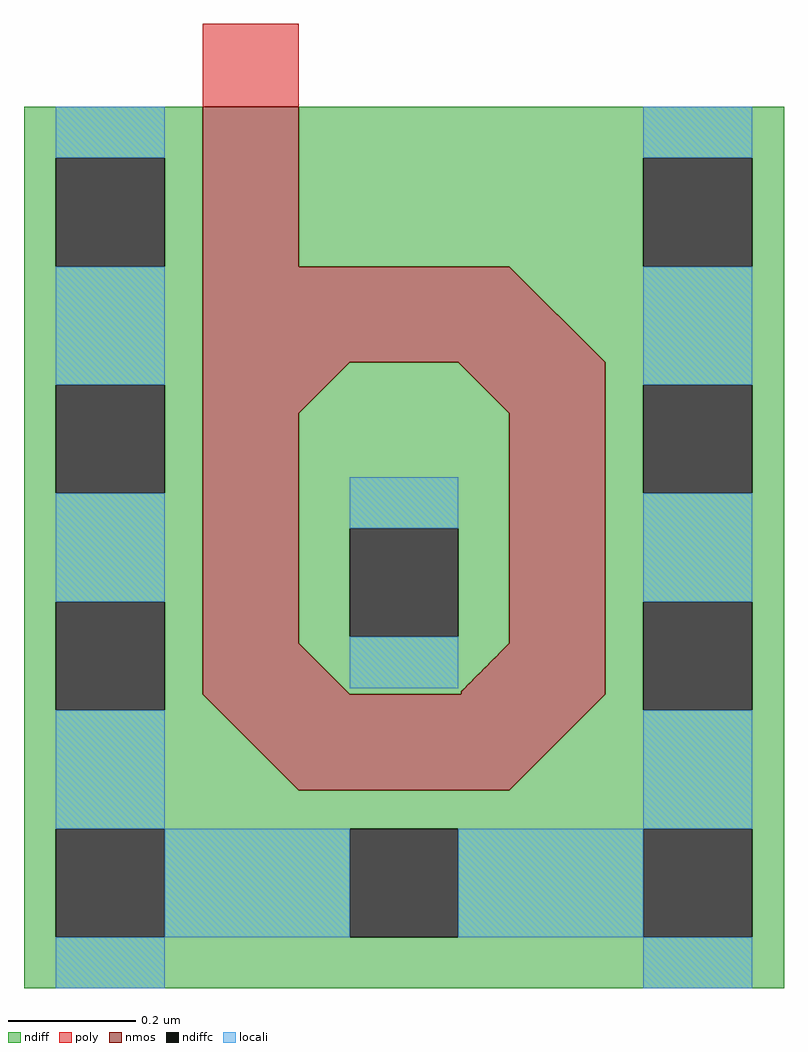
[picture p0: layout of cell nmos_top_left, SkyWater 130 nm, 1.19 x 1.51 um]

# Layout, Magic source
magic
tech sky130A
magscale 1 2
<< nmos >>
rect 11 162 41 212
rect 11 132 107 162
tri 107 132 137 162 sw
rect 11 28 41 132
tri 41 116 57 132 nw
tri 91 119 104 132 ne
rect 104 119 137 132
tri 104 116 107 119 ne
tri 41 28 57 44 sw
tri 104 41 107 44 se
rect 107 41 137 119
tri 103 40 104 41 se
rect 104 40 137 41
tri 102 39 103 40 se
rect 103 39 137 40
tri 101 38 102 39 se
rect 102 38 137 39
tri 100 37 101 38 se
rect 101 37 137 38
tri 99 36 100 37 se
rect 100 36 137 37
tri 98 35 99 36 se
rect 99 35 137 36
tri 97 34 98 35 se
rect 98 34 137 35
tri 96 33 97 34 se
rect 97 33 137 34
tri 95 32 96 33 se
rect 96 32 137 33
tri 94 31 95 32 se
rect 95 31 137 32
tri 93 30 94 31 se
rect 94 30 137 31
tri 92 29 93 30 se
rect 93 29 137 30
rect 92 28 137 29
tri 11 -2 41 28 ne
rect 41 -2 107 28
tri 107 -2 137 28 nw
<< ndiff >>
rect -45 196 11 212
rect -45 162 -35 196
rect -1 162 11 196
rect 41 196 193 212
rect 41 162 149 196
rect 183 162 193 196
rect -45 125 11 162
tri 107 132 137 162 ne
rect -45 91 -35 125
rect -1 91 11 125
rect -45 57 11 91
rect -45 23 -35 57
rect -1 23 11 57
tri 41 116 57 132 se
rect 57 119 91 132
tri 91 119 104 132 sw
rect 137 125 193 162
rect 57 116 104 119
tri 104 116 107 119 sw
rect 41 80 107 116
rect 41 46 57 80
rect 91 46 107 80
rect 41 44 107 46
tri 41 28 57 44 ne
rect 57 41 104 44
tri 104 41 107 44 nw
rect 137 91 149 125
rect 183 91 193 125
rect 137 57 193 91
rect 57 40 103 41
tri 103 40 104 41 nw
rect 57 39 102 40
tri 102 39 103 40 nw
rect 57 38 101 39
tri 101 38 102 39 nw
rect 57 37 100 38
tri 100 37 101 38 nw
rect 57 36 99 37
tri 99 36 100 37 nw
rect 57 35 98 36
tri 98 35 99 36 nw
rect 57 34 97 35
tri 97 34 98 35 nw
rect 57 33 96 34
tri 96 33 97 34 nw
rect 57 32 95 33
tri 95 32 96 33 nw
rect 57 31 94 32
tri 94 31 95 32 nw
rect 57 30 93 31
tri 93 30 94 31 nw
rect 57 28 92 30
tri 92 29 93 30 nw
rect -45 -2 11 23
tri 11 -2 41 28 sw
tri 107 -2 137 28 se
rect 137 23 149 57
rect 183 23 193 57
rect 137 -2 193 23
rect -45 -14 193 -2
rect -45 -48 -35 -14
rect -1 -48 57 -14
rect 91 -48 149 -14
rect 183 -48 193 -14
rect -45 -64 193 -48
<< ndiffc >>
rect -35 162 -1 196
rect 149 162 183 196
rect -35 91 -1 125
rect -35 23 -1 57
rect 57 46 91 80
rect 149 91 183 125
rect 149 23 183 57
rect -35 -48 -1 -14
rect 57 -48 91 -14
rect 149 -48 183 -14
<< poly >>
rect 11 212 41 238
<< locali >>
rect -35 196 -1 212
rect -35 125 -1 162
rect 149 196 183 212
rect 149 125 183 162
rect -35 57 -1 91
rect 57 80 91 96
rect 57 30 91 46
rect 149 57 183 91
rect -35 -14 -1 23
rect 149 -14 183 23
rect -1 -48 57 -14
rect 91 -48 149 -14
rect -35 -64 -1 -48
rect 149 -64 183 -48
<< end >>
